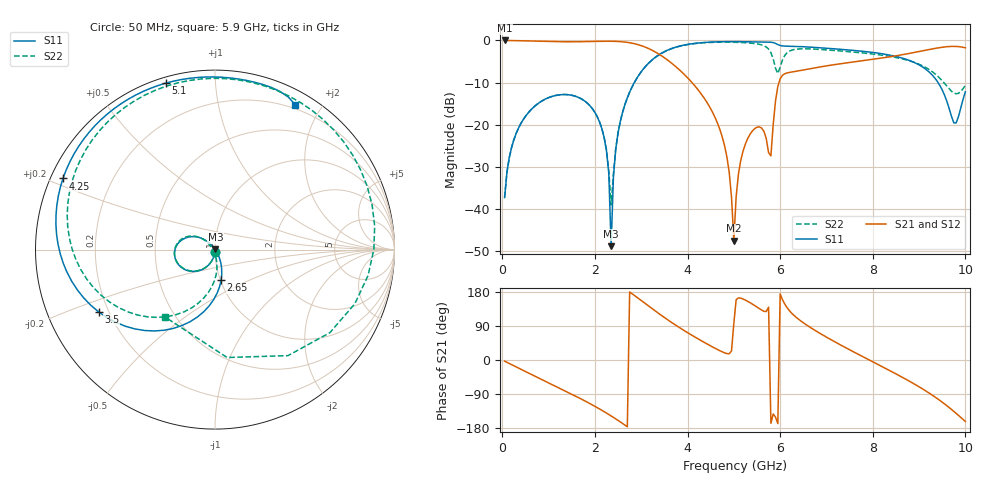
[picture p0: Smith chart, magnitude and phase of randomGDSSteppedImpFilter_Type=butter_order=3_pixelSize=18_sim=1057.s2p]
! freq	dB(S11)	phase(S11)	dB(S12)	phase(S12)
!  dB(S21)	phase(S21)	dB(S22)	phase(S22)
!S-par simulation data
#  GHz  S  DB  R 50
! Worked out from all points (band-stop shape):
!   200 points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, 50 MHz to 10 GHz, reference 50 ohm
!   highest |S21| = 0.00 dB at 50 MHz (marker M1); lowest = -47.6 dB at 5 GHz (marker M2)
!   |S21| within 3 dB of the highest: start of sweep to 3.345 GHz; 8.83 GHz to end of sweep
!   lowest |S11| = -48.9 dB at 2.35 GHz (marker M3), VSWR 1.01, Z = 50.2 + j0.274 ohm
!   |S11| at or under -10 dB: start of sweep to 2.852 GHz; 9.409 GHz to end of sweep
!   |S22| runs from -39.1 to -0.4 dB; largest |S21 - S12| = 0
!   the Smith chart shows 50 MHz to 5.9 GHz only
!   S11 on the Smith chart (normalised r, x): 50 MHz: 1.00, -0.03; 2.65 GHz: 1.01, -0.36; 3.5 GHz: 0.16, -0.24; 4.25 GHz: 0.04, +0.22; 5.1 GHz: 0.03, +0.75; 5.9 GHz: 0.16, +1.69
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0.05  -37.36 -93.3  -0.00 -3.1  -0.00 -3.1  -37.36 -93.4
0.55  -17.34 -123.8  -0.12 -33.4  -0.12 -33.4  -17.34 -124.6
1.75  -14.18 164.9  -0.29 -105.8  -0.29 -105.8  -14.17 162.8
2.2  -23.13 134.4  -0.19 -136.3  -0.19 -136.3  -23.03 137.2
2.35  -48.91 49.5  -0.19 -147.6  -0.19 -147.6  -39.12 -162.8
2.45  -25.84 -61.8  -0.22 -155.4  -0.22 -155.4  -25.69 -82.4
2.65  -15.17 -78.7  -0.38 -171.9  -0.38 -171.9  -15.18 -91.1
3.4  -3.29 -143.7  -3.37 120.8  -3.37 120.8  -3.31 -158.1
3.5  -2.67 -151.9  -4.11 112.1  -4.11 112.1  -2.69 -167.1
4.25  -0.58 154.9  -12.05 54.2  -12.05 54.2  -0.64 130.4
4.8  -0.29 122.8  -25.04 18.9  -25.04 18.9  -0.40 86.2
5  -0.28 111.9  -47.60 96.8  -47.60 96.8  -0.43 69.0
5.05  -0.29 109.2  -37.10 159.1  -37.10 159.1  -0.45 64.5
5.1  -0.29 106.5  -31.71 164.0  -31.71 164.0  -0.47 59.9
5.65  -0.37 76.9  -21.61 128.5  -21.61 128.5  -1.26 -9.6
5.8  -0.42 67.7  -27.45 -167.0  -27.45 -167.0  -2.89 -55.5
5.9  -0.71 60.9  -14.37 -150.7  -14.37 -150.7  -6.60 -126.7
6.05  -1.31 55.1  -8.29 159.3  -8.29 159.3  -4.64 82.3
6.7  -1.62 26.0  -6.62 82.1  -6.62 82.1  -2.04 -37.7
8.35  -3.45 -56.5  -3.92 -26.9  -3.92 -26.9  -3.76 -170.1
9.35  -9.09 -127.1  -1.88 -98.1  -1.88 -98.1  -8.00 124.3
10  -12.21 32.5  -1.75 -162.2  -1.75 -162.2  -10.67 149.7
